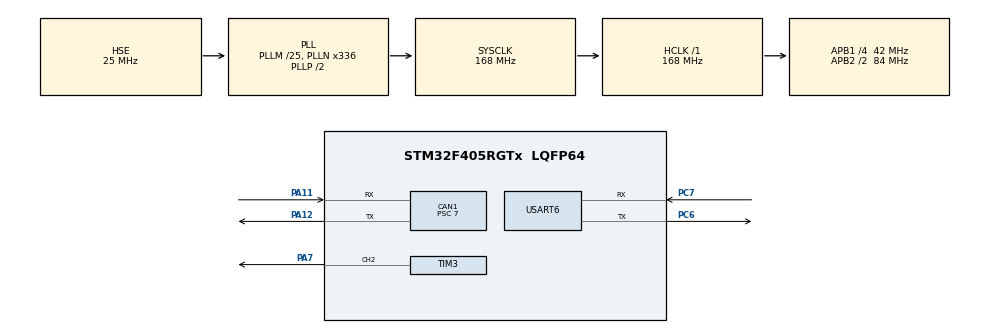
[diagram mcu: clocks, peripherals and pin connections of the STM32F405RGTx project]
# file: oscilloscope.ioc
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CAN1.BS1=CAN_BS1_2TQ
CAN1.BS2=CAN_BS2_3TQ
CAN1.CalculateBaudRate=999999
CAN1.CalculateTimeBit=1000
CAN1.CalculateTimeQuantum=166.66666666666669
CAN1.Prescaler=7
FREERTOS.Tasks01=defaultTask,24,128,StartDefaultTask,Default,NULL,Dynamic,NULL,NULL;task01,8,128,CAN001,Default,NULL,Dynamic,NULL,NULL;task02,8,128,USART002,Default,NULL,Dynamic,NULL,NULL;task03,8,128,PWM003,Default,NULL,Dynamic,NULL,NULL
Mcu.Family=STM32F4
Mcu.Name=STM32F405RGTx
Mcu.Package=LQFP64
NVIC.PriorityGroup=NVIC_PRIORITYGROUP_4
NVIC.TIM1_UP_TIM10_IRQn=true\:15\:0\:false\:false\:true\:false\:false\:true\:true
NVIC.TimeBase=TIM1_UP_TIM10_IRQn
NVIC.TimeBaseIP=TIM1
PA11.Mode=CAN_Activate
PA11.Signal=CAN1_RX
PA12.Mode=CAN_Activate
PA12.Signal=CAN1_TX
PA13.Mode=Serial_Wire
PA13.Signal=SYS_JTMS-SWDIO
PA14.Mode=Serial_Wire
PA14.Signal=SYS_JTCK-SWCLK
PA7.Signal=S_TIM3_CH2
PC14-OSC32_IN.Mode=LSE-External-Oscillator
PC14-OSC32_IN.Signal=RCC_OSC32_IN
PC15-OSC32_OUT.Mode=LSE-External-Oscillator
PC15-OSC32_OUT.Signal=RCC_OSC32_OUT
PC6.Mode=Asynchronous
PC6.Signal=USART6_TX
PC7.Mode=Asynchronous
PC7.Signal=USART6_RX
PH0-OSC_IN.Mode=HSE-External-Oscillator
PH0-OSC_IN.Signal=RCC_OSC_IN
PH1-OSC_OUT.Mode=HSE-External-Oscillator
PH1-OSC_OUT.Signal=RCC_OSC_OUT
ProjectManager.HeapSize=0x200
ProjectManager.StackSize=0x400
ProjectManager.TargetToolchain=MDK-ARM V5.32
RCC.48MHZClocksFreq_Value=84000000
RCC.AHBFreq_Value=168000000
RCC.APB1CLKDivider=RCC_HCLK_DIV4
RCC.APB1Freq_Value=42000000
RCC.APB1TimFreq_Value=84000000
RCC.APB2CLKDivider=RCC_HCLK_DIV2
RCC.APB2Freq_Value=84000000
RCC.APB2TimFreq_Value=168000000
RCC.CortexFreq_Value=168000000
RCC.HCLKFreq_Value=168000000
RCC.HSE_VALUE=25000000
RCC.HSI_VALUE=16000000
RCC.PLLM=25
RCC.PLLN=336
RCC.PLLSourceVirtual=RCC_PLLSOURCE_HSE
RCC.SYSCLKFreq_VALUE=168000000
RCC.SYSCLKSource=RCC_SYSCLKSOURCE_PLLCLK
RCC.VCOOutputFreq_Value=336000000
SH.S_TIM3_CH2.0=TIM3_CH2,PWM Generation2 CH2
TIM3.Channel-PWM\ Generation2\ CH2=TIM_CHANNEL_2
TIM3.Period=100-1
TIM3.Prescaler=720-1
USART6.VirtualMode=VM_ASYNC
VP_FREERTOS_VS_CMSIS_V2.Mode=CMSIS_V2
VP_SYS_VS_tim1.Mode=TIM1
VP_TIM3_VS_ClockSourceINT.Mode=Internal
board=custom

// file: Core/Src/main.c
/* USER CODE BEGIN Header */
/**
  ******************************************************************************
  * @file           : main.c
  * @brief          : Main program body
  ******************************************************************************
  * @attention
  *
  * Copyright (c) 2024 STMicroelectronics.
  * All rights reserved.
  *
  * This software is licensed under terms that can be found in the LICENSE file
  * in the root directory of this software component.
  * If no LICENSE file comes with this software, it is provided AS-IS.
  *
  ******************************************************************************
  */
/* USER CODE END Header */
#include "main.h"
#include "cmsis_os.h"
#include "can.h"
#include "tim.h"
#include "usart.h"
#include "gpio.h"

void SystemClock_Config(void);
void MX_FREERTOS_Init(void);

int main(void)
{

  /* MCU Configuration--------------------------------------------------------*/

  /* Reset of all peripherals, Initializes the Flash interface and the Systick. */
  HAL_Init();

  /* Configure the system clock */
  SystemClock_Config();

  /* Initialize all configured peripherals */
  MX_GPIO_Init();
  MX_CAN1_Init();
  MX_TIM3_Init();
  MX_USART6_UART_Init();

  /* Init scheduler */
  osKernelInitialize();

  /* Call init function for freertos objects (in cmsis_os2.c) */
  MX_FREERTOS_Init();

  /* Start scheduler */
  osKernelStart();

  /* We should never get here as control is now taken by the scheduler */

  /* Infinite loop */
  while (1)
  {

  }
}

void SystemClock_Config(void)
{
  RCC_OscInitTypeDef RCC_OscInitStruct = {0};
  RCC_ClkInitTypeDef RCC_ClkInitStruct = {0};

  /** Configure the main internal regulator output voltage
  */
  __HAL_RCC_PWR_CLK_ENABLE();
  __HAL_PWR_VOLTAGESCALING_CONFIG(PWR_REGULATOR_VOLTAGE_SCALE1);

  /** Initializes the RCC Oscillators according to the specified parameters
  * in the RCC_OscInitTypeDef structure.
  */
  RCC_OscInitStruct.OscillatorType = RCC_OSCILLATORTYPE_HSE;
  RCC_OscInitStruct.HSEState = RCC_HSE_ON;
  RCC_OscInitStruct.PLL.PLLState = RCC_PLL_ON;
  RCC_OscInitStruct.PLL.PLLSource = RCC_PLLSOURCE_HSE;
  RCC_OscInitStruct.PLL.PLLM = 25;
  RCC_OscInitStruct.PLL.PLLN = 336;
  RCC_OscInitStruct.PLL.PLLP = RCC_PLLP_DIV2;
  RCC_OscInitStruct.PLL.PLLQ = 4;
  if (HAL_RCC_OscConfig(&RCC_OscInitStruct) != HAL_OK)
  {
    Error_Handler();
  }

  /** Initializes the CPU, AHB and APB buses clocks
  */
  RCC_ClkInitStruct.ClockType = RCC_CLOCKTYPE_HCLK|RCC_CLOCKTYPE_SYSCLK
                              |RCC_CLOCKTYPE_PCLK1|RCC_CLOCKTYPE_PCLK2;
  RCC_ClkInitStruct.SYSCLKSource = RCC_SYSCLKSOURCE_PLLCLK;
  RCC_ClkInitStruct.AHBCLKDivider = RCC_SYSCLK_DIV1;
  RCC_ClkInitStruct.APB1CLKDivider = RCC_HCLK_DIV4;
  RCC_ClkInitStruct.APB2CLKDivider = RCC_HCLK_DIV2;

  if (HAL_RCC_ClockConfig(&RCC_ClkInitStruct, FLASH_LATENCY_5) != HAL_OK)
  {
    Error_Handler();
  }
}

void HAL_TIM_PeriodElapsedCallback(TIM_HandleTypeDef *htim)
{
  if (htim->Instance == TIM1) {
    HAL_IncTick();
  }
}

void Error_Handler(void)
{
  __disable_irq();
  while (1)
  {
  }
}

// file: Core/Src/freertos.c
/* USER CODE BEGIN Header */
/**
  ******************************************************************************
  * File Name          : freertos.c
  * Description        : Code for freertos applications
  ******************************************************************************
  * @attention
  *
  * Copyright (c) 2024 STMicroelectronics.
  * All rights reserved.
  *
  * This software is licensed under terms that can be found in the LICENSE file
  * in the root directory of this software component.
  * If no LICENSE file comes with this software, it is provided AS-IS.
  *
  ******************************************************************************
  */
/* USER CODE END Header */

#include "FreeRTOS.h"
#include "task.h"
#include "main.h"
#include "cmsis_os.h"

/* USER CODE BEGIN Includes */
#include "can.h"
#include "pid.h"
#include "usart.h"
#include <stdio.h>
#include "tim.h"

pid_struct_t motor_pid_Single;//定义单个pid结构�?
float speedTarget = 300;//速度目标位置（单级）(0-380rpm左右)

/* USER CODE END Includes */

/* Definitions for defaultTask */
osThreadId_t defaultTaskHandle;
const osThreadAttr_t defaultTask_attributes = {
  .name = "defaultTask",
  .stack_size = 128 * 4,
  .priority = (osPriority_t) osPriorityNormal,
};
/* Definitions for task01 */
osThreadId_t task01Handle;
const osThreadAttr_t task01_attributes = {
  .name = "task01",
  .stack_size = 128 * 4,
  .priority = (osPriority_t) osPriorityLow,
};
/* Definitions for task02 */
osThreadId_t task02Handle;
const osThreadAttr_t task02_attributes = {
  .name = "task02",
  .stack_size = 128 * 4,
  .priority = (osPriority_t) osPriorityLow,
};
/* Definitions for task03 */
osThreadId_t task03Handle;
const osThreadAttr_t task03_attributes = {
  .name = "task03",
  .stack_size = 128 * 4,
  .priority = (osPriority_t) osPriorityLow,
};

void StartDefaultTask(void *argument);
void CAN001(void *argument);
void USART002(void *argument);
void PWM003(void *argument);

void MX_FREERTOS_Init(void); /* (MISRA C 2004 rule 8.1) */

void MX_FREERTOS_Init(void) {

  /* Create the thread(s) */
  /* creation of defaultTask */
  defaultTaskHandle = osThreadNew(StartDefaultTask, NULL, &defaultTask_attributes);

  /* creation of task01 */
  task01Handle = osThreadNew(CAN001, NULL, &task01_attributes);

  /* creation of task02 */
  task02Handle = osThreadNew(USART002, NULL, &task02_attributes);

  /* creation of task03 */
  task03Handle = osThreadNew(PWM003, NULL, &task03_attributes);

}

void StartDefaultTask(void *argument)
{
  /* USER CODE BEGIN StartDefaultTask */
  /* Infinite loop */
  for(;;)
  {
    vTaskDelete(NULL);
  }
  /* USER CODE END StartDefaultTask */
}

void CAN001(void *argument)
{
  /* USER CODE BEGIN CAN001 */
//    Configure_Filter();
//    pid_init(&motor_pid_Single,40,3,0,500,25000);
  /* Infinite loop */
  for(;;)
  {
    CAN_Transmit(25000);
//    int16_t set_voltage = pid_calc(&motor_pid_Single, speedTarget, motor_info.rotor_speed);
//    CAN_Transmit(set_voltage);
//    printf("speed: %d,%f\n",motor_info.rotor_speed,speedTarget);
    vTaskDelay(1);
  }
  /* USER CODE END CAN001 */
}

void USART002(void *argument)
{
  /* USER CODE BEGIN USART002 */
  /* Infinite loop */
  for(;;)
  {
    printf("LMY\n");
    vTaskDelay(1);
  }
  /* USER CODE END USART002 */
}

void PWM003(void *argument)
{
  /* USER CODE BEGIN PWM003 */
   HAL_TIM_PWM_Start(&htim3,TIM_CHANNEL_2);
  /* Infinite loop */
  for(;;)
  {
      for(int i = 0;i < 100;i++)
    {
        __HAL_TIM_SET_COMPARE(&htim3,TIM_CHANNEL_2,i);
        vTaskDelay(10);
    }
    for(int i = 0;i < 100;i++)
    {
        __HAL_TIM_SET_COMPARE(&htim3,TIM_CHANNEL_2,100-i);
        vTaskDelay(10);
    }
    vTaskDelay(1);
  }
  /* USER CODE END PWM003 */
}
